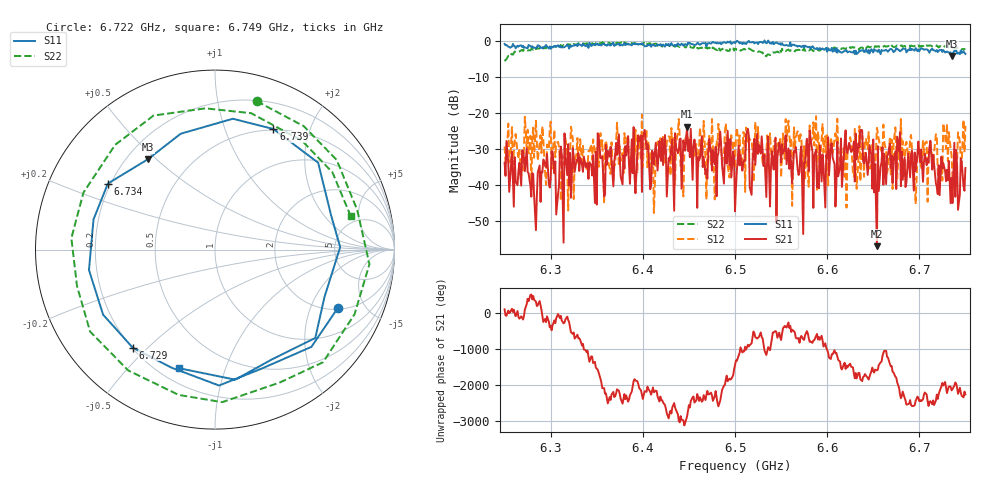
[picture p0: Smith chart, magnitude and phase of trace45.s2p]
# Hz S RI R 50
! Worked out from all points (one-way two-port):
!   401 points, 6.25 GHz to 6.75 GHz, reference 50 ohm
!   highest |S21| = -23.72 dB at 6.448 GHz (marker M1); lowest = -56.9 dB at 6.654 GHz (marker M2)
!   lowest |S11| = -4.1 dB at 6.735 GHz (marker M3), VSWR 4.36, Z = 14.2 + j23.5 ohm
!   |S11| at or under -10 dB: nowhere
!   |S22| runs from -5.5 to -0.2 dB; largest |S21 - S12| = 0.11
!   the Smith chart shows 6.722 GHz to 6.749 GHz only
!   S11 on the Smith chart (normalised r, x): 6.722 GHz: 2.07, -3.16; 6.729 GHz: 0.20, -0.45; 6.734 GHz: 0.19, +0.27; 6.739 GHz: 0.49, +1.48; 6.749 GHz: 0.28, -0.71
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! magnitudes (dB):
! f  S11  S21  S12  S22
! 6.25 GHz  -0.7  -33.7  -29.2  -5.5
! 6.271 GHz  -1.8  -32.4  -29.9  -2.3
! 6.281 GHz  -1.8  -36.8  -24.0  -2.3
! 6.334 GHz  -1.3  -34.2  -33.6  -0.7
! 6.418 GHz  -1.0  -27.6  -29.8  -0.7
! 6.448 GHz  -1.1  -23.7  -25.7  -1.6
! 6.5 GHz  -0.5  -47.2  -35.4  -2.0
! 6.512 GHz  -0.7  -26.3  -24.0  -2.0
! 6.558 GHz  -1.2  -29.7  -22.0  -2.3
! 6.578 GHz  -1.5  -27.1  -26.9  -2.3
! 6.584 GHz  -1.3  -30.5  -27.0  -2.4
! 6.636 GHz  -2.7  -24.6  -38.9  -1.8
! 6.654 GHz  -2.6  -56.9  -24.0  -1.5
! 6.668 GHz  -2.2  -28.4  -27.0  -1.3
! 6.716 GHz  -2.5  -34.0  -31.0  -1.1
! 6.722 GHz  -2.4  -42.7  -39.3  -1.3
! 6.729 GHz  -2.9  -38.8  -29.8  -1.3
! 6.734 GHz  -3.1  -44.9  -29.8  -1.6
! 6.735 GHz  -4.1  -37.9  -31.7  -1.6
! 6.739 GHz  -2.5  -43.1  -33.0  -1.9
! 6.749 GHz  -3.2  -41.5  -30.8  -2.2
! 6.75 GHz  -3.5  -35.2  -23.5  -2.2
